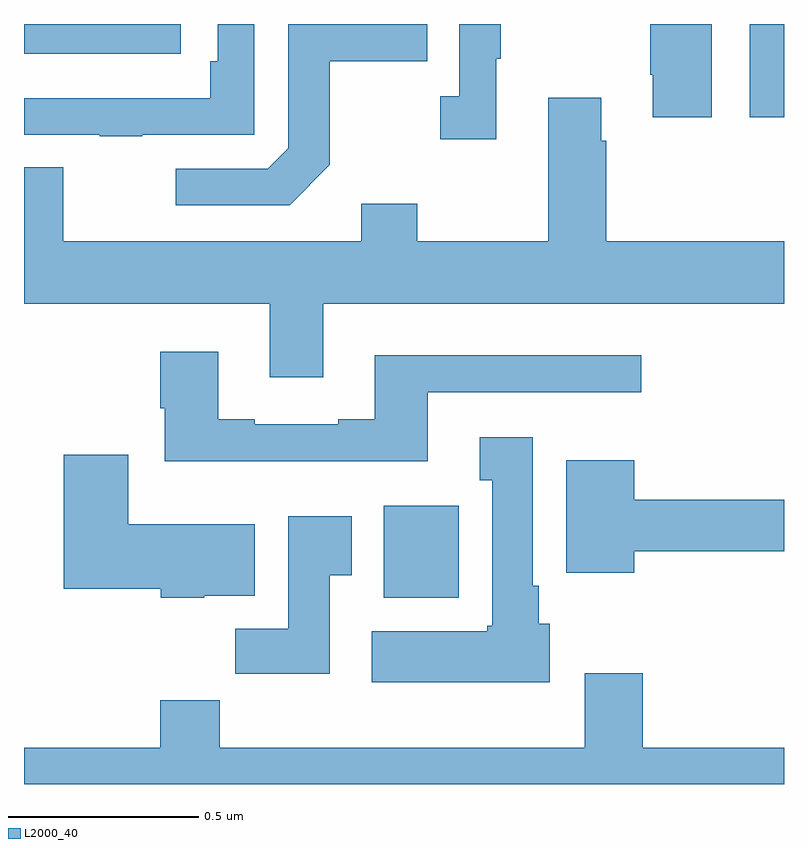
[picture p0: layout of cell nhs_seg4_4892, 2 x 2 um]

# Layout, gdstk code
import gdstk
lib = gdstk.Library(unit=1e-6, precision=1e-09)
def R(c, l, rs):  # rectangles x0, y0, x1, y1
    for r in rs: c.add(gdstk.rectangle(r[:2], r[2:], *l))
def P(c, l, *ps):  # polygons
    for p in ps: c.add(gdstk.Polygon(p, *l))
L2000_40 = (2000, 40)

nhs_seg4_4892 = lib.new_cell('nhs_seg4_4892')
R(nhs_seg4_4892, L2000_40, [(171.947,785.39,172.144,785.632), (172.91,786.654,173,786.9), (171,786.822,171.412,786.9)])
P(nhs_seg4_4892, L2000_40, [(171.805,786.529),(171.805,786.802),(172.061,786.802),(172.061,786.9),(171.696,786.9),(171.696,786.573),(171.642,786.519),(171.399,786.519),(171.399,786.423),(171.699,786.423)],
  [(172.81,786.9),(172.648,786.9),(172.648,786.766),(172.655,786.766),(172.655,786.654),(172.81,786.654)],
  [(171.311,786.609),(171.606,786.609),(171.606,786.9),(171.51,786.9),(171.51,786.802),(171.49,786.802),(171.49,786.705),(171,786.705),(171,786.609),(171.199,786.609),(171.199,786.604),(171.311,786.604)],
  [(172.243,786.809),(172.255,786.809),(172.255,786.9),(172.146,786.9),(172.146,786.71),(172.095,786.71),(172.095,786.597),(172.243,786.597)],
  [(171.787,786.164),(173,786.164),(173,786.328),(172.532,786.328),(172.532,786.593),(172.519,786.593),(172.519,786.706),(172.379,786.706),(172.379,786.328),(172.035,786.328),(172.035,786.427),(171.887,786.427),(171.887,786.328),(171.103,786.328),(171.103,786.523),(171,786.523),(171,786.164),(171.647,786.164),(171.647,785.97),(171.787,785.97)],
  [(172.063,785.931),(172.624,785.931),(172.624,786.028),(171.923,786.028),(171.923,785.86),(171.827,785.86),(171.827,785.847),(171.607,785.847),(171.607,785.86),(171.511,785.86),(171.511,786.037),(171.359,786.037),(171.359,785.889),(171.371,785.889),(171.371,785.75),(172.063,785.75)],
  [(172.384,785.322),(172.354,785.322),(172.354,785.422),(172.339,785.422),(172.339,785.812),(172.199,785.812),(172.199,785.699),(172.232,785.699),(172.232,785.316),(172.219,785.316),(172.219,785.302),(171.915,785.302),(171.915,785.168),(172.384,785.168)],
  [(171.474,785.396),(171.607,785.396),(171.607,785.584),(171.274,785.584),(171.274,785.767),(171.104,785.767),(171.104,785.414),(171.36,785.414),(171.36,785.39),(171.474,785.39)],
  [(172.606,785.512),(173,785.512),(173,785.648),(172.606,785.648),(172.606,785.752),(172.427,785.752),(172.427,785.456),(172.606,785.456)],
  [(171.805,785.449),(171.862,785.449),(171.862,785.605),(171.695,785.605),(171.695,785.308),(171.556,785.308),(171.556,785.19),(171.805,785.19)],
  [(173,784.996),(172.628,784.996),(172.628,785.191),(172.475,785.191),(172.475,784.996),(171.515,784.996),(171.515,785.12),(171.359,785.12),(171.359,784.996),(171,784.996),(171,784.9),(173,784.9)])

lib.write_gds('nhs_seg4_4892.gds')
